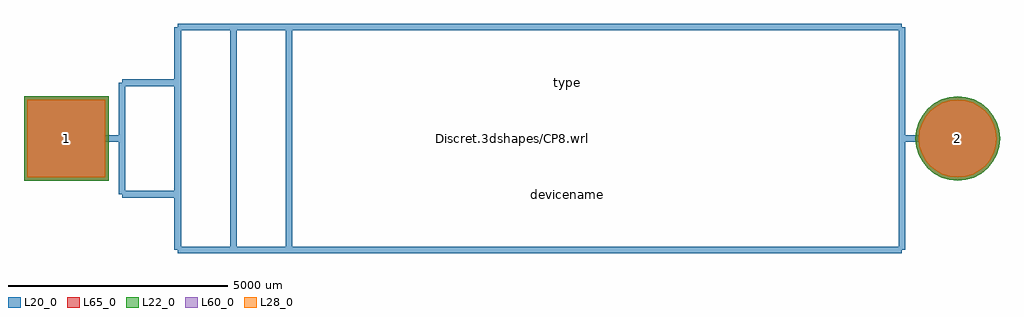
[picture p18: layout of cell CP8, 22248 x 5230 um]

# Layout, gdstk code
import gdstk
lib = gdstk.Library(unit=1e-6, precision=1e-09)
def R(c, l, rs):  # rectangles x0, y0, x1, y1
    for r in rs: c.add(gdstk.rectangle(r[:2], r[2:], *l))
def P(c, l, *ps):  # polygons
    for p in ps: c.add(gdstk.Polygon(p, *l))
L20_0 = (20, 0)
L22_0 = (22, 0)
L28_0 = (28, 0)
L60_0 = (60, 0)
L65_0 = (65, 0)

cp8 = lib.new_cell('CP8')
R(cp8, L22_0, [(-11124,-964,-9196,964)])
P(cp8, L22_0, [(11124,0),(11105.477,188.067),(11050.62,368.907),(10961.537,535.57),(10841.651,681.651),(10695.57,801.537),(10528.907,890.62),(10348.067,945.477),(10160,964),(9971.933,945.477),(9791.093,890.62),(9624.43,801.537),(9478.349,681.651),(9358.463,535.57),(9269.38,368.907),(9214.523,188.067),(9196,0),(9214.523,-188.067),(9269.38,-368.907),(9358.463,-535.57),(9478.349,-681.651),(9624.43,-801.537),(9791.093,-890.62),(9971.933,-945.477),(10160,-964),(10348.067,-945.477),(10528.907,-890.62),(10695.57,-801.537),(10841.651,-681.651),(10961.537,-535.57),(11050.62,-368.907),(11105.477,-188.067)])
R(cp8, L28_0, [(-11049,-889,-9271,889)])
P(cp8, L28_0, [(11049,0),(11031.918,173.435),(10981.329,340.206),(10899.176,493.902),(10788.618,628.618),(10653.902,739.176),(10500.206,821.329),(10333.435,871.918),(10160,889),(9986.565,871.918),(9819.794,821.329),(9666.098,739.176),(9531.382,628.618),(9420.824,493.902),(9338.671,340.206),(9288.082,173.435),(9271,0),(9288.082,-173.435),(9338.671,-340.206),(9420.824,-493.902),(9531.382,-628.618),(9666.098,-739.176),(9819.794,-821.329),(9986.565,-871.918),(10160,-889),(10333.435,-871.918),(10500.206,-821.329),(10653.902,-739.176),(10788.618,-628.618),(10899.176,-493.902),(10981.329,-340.206),(11031.918,-173.435)])
R(cp8, L60_0, [(-11049,-889,-9271,889)])
P(cp8, L60_0, [(11049,0),(11031.918,173.435),(10981.329,340.206),(10899.176,493.902),(10788.618,628.618),(10653.902,739.176),(10500.206,821.329),(10333.435,871.918),(10160,889),(9986.565,871.918),(9819.794,821.329),(9666.098,739.176),(9531.382,628.618),(9420.824,493.902),(9338.671,340.206),(9288.082,173.435),(9271,0),(9288.082,-173.435),(9338.671,-340.206),(9420.824,-493.902),(9531.382,-628.618),(9666.098,-739.176),(9819.794,-821.329),(9986.565,-871.918),(10160,-889),(10333.435,-871.918),(10500.206,-821.329),(10653.902,-739.176),(10788.618,-628.618),(10899.176,-493.902),(10981.329,-340.206),(11031.918,-173.435)])
R(cp8, L65_0, [(-11124,-964,-9196,964)])
P(cp8, L65_0, [(11124,0),(11105.477,188.067),(11050.62,368.907),(10961.537,535.57),(10841.651,681.651),(10695.57,801.537),(10528.907,890.62),(10348.067,945.477),(10160,964),(9971.933,945.477),(9791.093,890.62),(9624.43,801.537),(9478.349,681.651),(9358.463,535.57),(9269.38,368.907),(9214.523,188.067),(9196,0),(9214.523,-188.067),(9269.38,-368.907),(9358.463,-535.57),(9478.349,-681.651),(9624.43,-801.537),(9791.093,-890.62),(9971.933,-945.477),(10160,-964),(10348.067,-945.477),(10528.907,-890.62),(10695.57,-801.537),(10841.651,-681.651),(10961.537,-535.57),(11050.62,-368.907),(11105.477,-188.067)])
cp8.add(gdstk.FlexPath([(-6350,-2540),(-6350,2540)], 149.998, ends="flush", simple_path=True, layer=20, datatype=0))  # L20_0
cp8.add(gdstk.FlexPath([(-5080,2540),(-5080,-2540)], 149.998, ends="flush", simple_path=True, layer=20, datatype=0))  # L20_0
cp8.add(gdstk.FlexPath([(8890,0),(10160,0)], 149.998, ends="flush", simple_path=True, layer=20, datatype=0))  # L20_0
cp8.add(gdstk.FlexPath([(8890,-2540),(-7620,-2540)], 149.998, ends="flush", simple_path=True, layer=20, datatype=0))  # L20_0
cp8.add(gdstk.FlexPath([(8890,2540),(8890,-2540)], 149.998, ends="flush", simple_path=True, layer=20, datatype=0))  # L20_0
cp8.add(gdstk.FlexPath([(-7620,2540),(8890,2540)], 149.998, ends="flush", simple_path=True, layer=20, datatype=0))  # L20_0
cp8.add(gdstk.FlexPath([(-7620,-2540),(-7620,2540)], 149.998, ends="flush", simple_path=True, layer=20, datatype=0))  # L20_0
cp8.add(gdstk.FlexPath([(-8890,1270),(-7620,1270)], 149.998, ends="flush", simple_path=True, layer=20, datatype=0))  # L20_0
cp8.add(gdstk.FlexPath([(-8890,-1270),(-8890,1270)], 149.998, ends="flush", simple_path=True, layer=20, datatype=0))  # L20_0
cp8.add(gdstk.FlexPath([(-7620,-1270),(-8890,-1270)], 149.998, ends="flush", simple_path=True, layer=20, datatype=0))  # L20_0
cp8.add(gdstk.FlexPath([(-10160,0),(-8890,0)], 149.998, ends="flush", simple_path=True, layer=20, datatype=0))  # L20_0
cp8.add(gdstk.Label('Discret.3dshapes/CP8.wrl', (0,0), layer=12, texttype=0))
cp8.add(gdstk.Label('2', (10160,0), layer=28, texttype=0))
cp8.add(gdstk.Label('1', (-10160,0), layer=28, texttype=0))
cp8.add(gdstk.Label('type', (1270,1270), layer=9, texttype=0))
cp8.add(gdstk.Label('devicename', (1270,-1270), layer=9, texttype=0))

lib.write_gds('CP8.gds')
